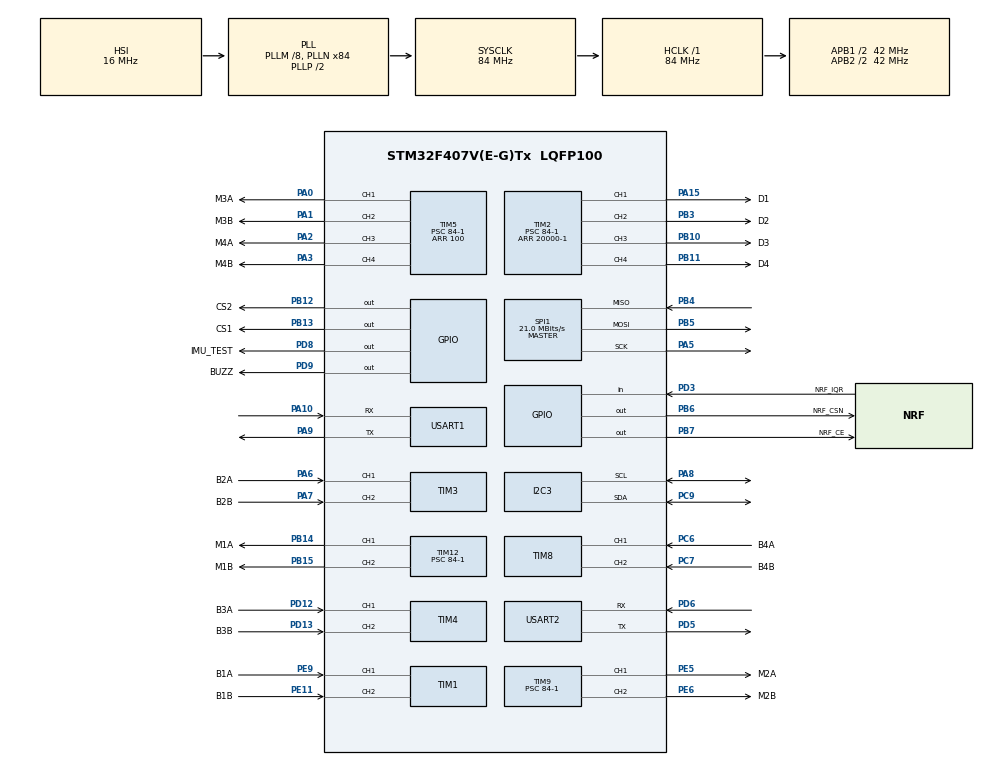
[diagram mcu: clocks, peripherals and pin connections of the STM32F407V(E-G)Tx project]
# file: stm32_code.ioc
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Mcu.Family=STM32F4
Mcu.Name=STM32F407V(E-G)Tx
Mcu.Package=LQFP100
NVIC.PriorityGroup=NVIC_PRIORITYGROUP_4
NVIC.TIM6_DAC_IRQn=true\:0\:0\:false\:false\:true\:true\:true\:true
NVIC.TIM8_TRG_COM_TIM14_IRQn=true\:0\:0\:false\:false\:true\:true\:true\:true
NVIC.USART1_IRQn=true\:0\:0\:false\:false\:true\:true\:true\:true
PA0-WKUP.GPIO_Label=M3A
PA0-WKUP.Signal=S_TIM5_CH1
PA1.GPIO_Label=M3B
PA1.Signal=S_TIM5_CH2
PA10.Mode=Asynchronous
PA10.Signal=USART1_RX
PA13.Mode=Serial_Wire
PA13.Signal=SYS_JTMS-SWDIO
PA14.Mode=Serial_Wire
PA14.Signal=SYS_JTCK-SWCLK
PA15.GPIO_Label=D1
PA15.GPIO_ModeDefaultPP=GPIO_MODE_AF_OD
PA15.Signal=S_TIM2_CH1_ETR
PA2.GPIO_Label=M4A
PA2.Signal=S_TIM5_CH3
PA3.GPIO_Label=M4B
PA3.Signal=S_TIM5_CH4
PA5.Mode=Full_Duplex_Master
PA5.Signal=SPI1_SCK
PA6.GPIO_Label=B2A
PA6.Signal=S_TIM3_CH1
PA7.GPIO_Label=B2B
PA7.Signal=S_TIM3_CH2
PA8.Mode=I2C
PA8.Signal=I2C3_SCL
PA9.Mode=Asynchronous
PA9.Signal=USART1_TX
PB10.GPIO_Label=D3
PB10.GPIO_ModeDefaultPP=GPIO_MODE_AF_OD
PB10.Signal=S_TIM2_CH3
PB11.GPIO_Label=D4
PB11.GPIO_ModeDefaultPP=GPIO_MODE_AF_OD
PB11.Signal=S_TIM2_CH4
PB12.GPIO_Label=CS2
PB12.GPIO_PuPd=GPIO_PULLUP
PB12.Signal=GPIO_Output
PB13.GPIO_Label=CS1
PB13.GPIO_PuPd=GPIO_PULLUP
PB13.Signal=GPIO_Output
PB14.GPIO_Label=M1A
PB14.Signal=S_TIM12_CH1
PB15.GPIO_Label=M1B
PB15.Signal=S_TIM12_CH2
PB3.GPIO_Label=D2
PB3.GPIO_ModeDefaultPP=GPIO_MODE_AF_OD
PB3.Signal=S_TIM2_CH2
PB4.Mode=Full_Duplex_Master
PB4.Signal=SPI1_MISO
PB5.Mode=Full_Duplex_Master
PB5.Signal=SPI1_MOSI
PB6.GPIO_Label=NRF_CSN
PB6.Signal=GPIO_Output
PB7.GPIO_Label=NRF_CE
PB7.Signal=GPIO_Output
PC14-OSC32_IN.Mode=LSE-External-Oscillator
PC14-OSC32_IN.Signal=RCC_OSC32_IN
PC15-OSC32_OUT.Mode=LSE-External-Oscillator
PC15-OSC32_OUT.Signal=RCC_OSC32_OUT
PC6.GPIO_Label=B4A
PC6.Signal=S_TIM8_CH1
PC7.GPIO_Label=B4B
PC7.Signal=S_TIM8_CH2
PC9.Mode=I2C
PC9.Signal=I2C3_SDA
PD12.GPIO_Label=B3A
PD12.Signal=S_TIM4_CH1
PD13.GPIO_Label=B3B
PD13.Signal=S_TIM4_CH2
PD3.GPIO_Label=NRF_IQR
PD3.GPIO_PuPd=GPIO_PULLUP
PD3.Signal=GPIO_Input
PD5.Mode=Asynchronous
PD5.Signal=USART2_TX
PD6.Mode=Asynchronous
PD6.Signal=USART2_RX
PD8.GPIO_Label=IMU_TEST
PD8.Signal=GPIO_Output
PD9.GPIO_Label=BUZZ
PD9.Signal=GPIO_Output
PE11.GPIO_Label=B1B
PE11.Signal=S_TIM1_CH2
PE5.GPIO_Label=M2A
PE5.Signal=S_TIM9_CH1
PE6.GPIO_Label=M2B
PE6.Signal=S_TIM9_CH2
PE9.GPIO_Label=B1A
PE9.Signal=S_TIM1_CH1
PH0-OSC_IN.Mode=HSE-External-Oscillator
PH0-OSC_IN.Signal=RCC_OSC_IN
PH1-OSC_OUT.Mode=HSE-External-Oscillator
PH1-OSC_OUT.Signal=RCC_OSC_OUT
ProjectManager.HeapSize=0x200
ProjectManager.StackSize=0x400
ProjectManager.TargetToolchain=STM32CubeIDE
RCC.48MHZClocksFreq_Value=42000000
RCC.AHBFreq_Value=84000000
RCC.APB1CLKDivider=RCC_HCLK_DIV2
RCC.APB1Freq_Value=42000000
RCC.APB1TimFreq_Value=84000000
RCC.APB2CLKDivider=RCC_HCLK_DIV2
RCC.APB2Freq_Value=42000000
RCC.APB2TimFreq_Value=84000000
RCC.CortexFreq_Value=84000000
RCC.HCLKFreq_Value=84000000
RCC.HSE_VALUE=8000000
RCC.HSI_VALUE=16000000
RCC.PLLM=8
RCC.PLLN=84
RCC.SYSCLKFreq_VALUE=84000000
RCC.SYSCLKSource=RCC_SYSCLKSOURCE_PLLCLK
RCC.VCOOutputFreq_Value=168000000
SH.S_TIM12_CH1.0=TIM12_CH1,PWM Generation1 CH1
SH.S_TIM12_CH2.0=TIM12_CH2,PWM Generation2 CH2
SH.S_TIM1_CH1.0=TIM1_CH1,Encoder_Interface
SH.S_TIM1_CH2.0=TIM1_CH2,Encoder_Interface
SH.S_TIM2_CH1_ETR.0=TIM2_CH1,PWM Generation1 CH1
SH.S_TIM2_CH2.0=TIM2_CH2,PWM Generation2 CH2
SH.S_TIM2_CH3.0=TIM2_CH3,PWM Generation3 CH3
SH.S_TIM2_CH4.0=TIM2_CH4,PWM Generation4 CH4
SH.S_TIM3_CH1.0=TIM3_CH1,Encoder_Interface
SH.S_TIM3_CH2.0=TIM3_CH2,Encoder_Interface
SH.S_TIM4_CH1.0=TIM4_CH1,Encoder_Interface
SH.S_TIM4_CH2.0=TIM4_CH2,Encoder_Interface
SH.S_TIM5_CH1.0=TIM5_CH1,PWM Generation1 CH1
SH.S_TIM5_CH2.0=TIM5_CH2,PWM Generation2 CH2
SH.S_TIM5_CH3.0=TIM5_CH3,PWM Generation3 CH3
SH.S_TIM5_CH4.0=TIM5_CH4,PWM Generation4 CH4
SH.S_TIM8_CH1.0=TIM8_CH1,Encoder_Interface
SH.S_TIM8_CH2.0=TIM8_CH2,Encoder_Interface
SH.S_TIM9_CH1.0=TIM9_CH1,PWM Generation1 CH1
SH.S_TIM9_CH2.0=TIM9_CH2,PWM Generation2 CH2
SPI1.CalculateBaudRate=21.0 MBits/s
SPI1.Direction=SPI_DIRECTION_2LINES
SPI1.Mode=SPI_MODE_MASTER
SPI1.VirtualType=VM_MASTER
TIM12.Channel-PWM\ Generation1\ CH1=TIM_CHANNEL_1
TIM12.Channel-PWM\ Generation2\ CH2=TIM_CHANNEL_2
TIM12.Period=100
TIM12.Prescaler=84-1
TIM14.Period=1000-1
TIM14.Prescaler=8400-1
TIM2.Channel-PWM\ Generation1\ CH1=TIM_CHANNEL_1
TIM2.Channel-PWM\ Generation2\ CH2=TIM_CHANNEL_2
TIM2.Channel-PWM\ Generation3\ CH3=TIM_CHANNEL_3
TIM2.Channel-PWM\ Generation4\ CH4=TIM_CHANNEL_4
TIM2.Period=20000-1
TIM2.Prescaler=84-1
TIM2.Pulse-PWM\ Generation1\ CH1=1500
TIM2.Pulse-PWM\ Generation2\ CH2=1500
TIM2.Pulse-PWM\ Generation3\ CH3=1500
TIM2.Pulse-PWM\ Generation4\ CH4=1500
TIM5.Channel-PWM\ Generation1\ CH1=TIM_CHANNEL_1
TIM5.Channel-PWM\ Generation2\ CH2=TIM_CHANNEL_2
TIM5.Channel-PWM\ Generation3\ CH3=TIM_CHANNEL_3
TIM5.Channel-PWM\ Generation4\ CH4=TIM_CHANNEL_4
TIM5.Period=100
TIM5.Prescaler=84-1
TIM5.Pulse-PWM\ Generation1\ CH1=0
TIM5.Pulse-PWM\ Generation2\ CH2=0
TIM6.Period=1000-1
TIM6.Prescaler=84-1
TIM9.Channel-PWM\ Generation1\ CH1=TIM_CHANNEL_1
TIM9.Channel-PWM\ Generation2\ CH2=TIM_CHANNEL_2
TIM9.Period=100
TIM9.Prescaler=84-1
USART1.VirtualMode=VM_ASYNC
USART2.VirtualMode=VM_ASYNC
VP_TIM12_VS_ClockSourceINT.Mode=Internal
VP_TIM14_VS_ClockSourceINT.Mode=Enable_Timer
VP_TIM2_VS_ClockSourceINT.Mode=Internal
VP_TIM5_VS_ClockSourceINT.Mode=Internal
VP_TIM6_VS_ClockSourceINT.Mode=Enable_Timer
VP_TIM9_VS_ClockSourceINT.Mode=Internal
board=custom

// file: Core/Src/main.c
/* USER CODE BEGIN Header */
/**
  ******************************************************************************
  * @file           : main.c
  * @brief          : Main program body
  ******************************************************************************
  * @attention
  *
  * Copyright (c) 2025 STMicroelectronics.
  * All rights reserved.
  *
  * This software is licensed under terms that can be found in the LICENSE file
  * in the root directory of this software component.
  * If no LICENSE file comes with this software, it is provided AS-IS.
  *
  ******************************************************************************
  */
/* USER CODE END Header */
#include "main.h"
#include "i2c.h"
#include "spi.h"
#include "tim.h"
#include "usart.h"
#include "gpio.h"

/* USER CODE BEGIN Includes */
#include "imu.h"
#include "gear_motor.h"
#include "servo.h"
#include "motion.h"
#include "nrf24l01.h"
#include <string.h>
#include <stdlib.h>
#include "math.h"
/* USER CODE END Includes */

/* USER CODE BEGIN PD */
//#define M_PI 3.1415

/* USER CODE END PD */

void SystemClock_Config(void);

int main(void)
{

  /* MCU Configuration--------------------------------------------------------*/

  /* Reset of all peripherals, Initializes the Flash interface and the Systick. */
  HAL_Init();

  /* Configure the system clock */
  SystemClock_Config();

  /* Initialize all configured peripherals */
  MX_GPIO_Init();
  MX_TIM1_Init();
  MX_TIM2_Init();
  MX_TIM3_Init();
  MX_TIM4_Init();
  MX_TIM5_Init();
  MX_TIM8_Init();
  MX_TIM9_Init();
  MX_TIM12_Init();
  MX_I2C3_Init();
  MX_USART1_UART_Init();
  MX_USART2_UART_Init();
  MX_SPI1_Init();
  MX_TIM14_Init();
  MX_TIM6_Init();
  /* USER CODE BEGIN 2 */
  Servo_Init();

  Serial_Printf("Servo_Init");
  Motor_Wheels_Init();
  Serial_Printf("Motor_Wheels_Init");

  HAL_UART_Receive_IT(&huart1, &ByteRecv, 1);  // 启动串口接收中断，接收1个字节

  //imu_init();

  //NRF24L01_Init();

//  Serial_Printf("NRF24L01_Check:%d\r\n",NRF24L01_Check());
//  NRF24L01_RX_Mode(0);
//  uint8_t rx_buf[8];
  /* USER CODE END 2 */

  /* Infinite loop */
  /* USER CODE BEGIN WHILE */
  while (1)
  {

//	  Serial_Printf("ping\r\n");
//	  HAL_Delay(1000);

	  if (Serial_GetRxFlag() == 1){

		int8_t data1 = (int8_t)Serial_RxPacket[0];
		int8_t data2 = (int8_t)Serial_RxPacket[1];
		int8_t data3 = (int8_t)Serial_RxPacket[2];

			  // 处理数据
			  // 例如，打印数据或者将数据用于其他操作
		//上面叫做X，Y，Z，但对于下面是Y，X，Z
		 Serial_Printf("stmReceived data: %d, %d, %d\r\n", data1, data2, data3);

		 //换成下面的X，Y，Z，
		 MotionInput input = {data2, data1, data3};

		 MotionOutput output;
		 MOTION_Inverse_Resolve(&input, &output);

		Motor_Wheels_SetPWMs(output.vlf, output.vrf, output.vlr, output.vrr);
		Servo_SetAngles((uint8_t)(output.poslf+90 ),
					(uint8_t)(output.posrf +90),
						   (uint8_t)(output.poslr+80),
						   (uint8_t)(output.posrr+94));
		//printMotionOutput(&output);
	  }
//	  HAL_Delay(100);
	  //Serial_Printf("main");
//	  if(NRF24L01_RxPacket(rx_buf)==0X00)  //NRF24L01模块发�?�数据并判断是否发�?�成�?
//	  {
//
//		  Serial_Printf("\r\nrx_buf:%d\r\n",rx_buf[0]);
//	  }

//	  Motor_Wheels_SetPWMs(100-1,100-1,100-1,100-1);
//	  Serial_Printf("P100\r\n");
	  //Servo_SetAngles(180,180,180,180);
	  //Serial_Printf("180\r\n");
	  //HAL_Delay(5000);
//	  Motor_Wheels_SetPWMs(-100,-100,-100,-100);
//	  Serial_Printf("P-100\r\n");
	  //Servo_SetAngles(0,0,0,0);
	  //Serial_Printf("0\r\n");
	  //HAL_Delay(5000);
//	  Motor_Wheels_SetPWMs(0,0,0,0);
//	  Serial_Printf("P-100\r\n");
	  //Servo_SetAngles(90,90,90,90);
	  //Serial_Printf("90\r\n");
	  //HAL_Delay(5000);

//	  uint8_t i=0;
//	  for(i=0;i<180;i++){
//	  HAL_Delay(100);
//	  Serial_Printf("i:%d	,",i);
//	  Servo_SetAngles(i,i,i,i);
//	  }
//	  Motor_Wheels_SetPWMs(100-1,100-1,100-1,100-1);
//	  HAL_Delay(5000);
//	  HAL_TIM_PWM_Start(&htim9, TIM_CHANNEL_1);
//	  HAL_TIM_PWM_Stop(&htim9, TIM_CHANNEL_2);
//	  __HAL_TIM_SET_COMPARE(&htim9, TIM_CHANNEL_1, 99);
//	  HAL_Delay(5000);
//	  HAL_TIM_PWM_Start(&htim9, TIM_CHANNEL_2);
//	  HAL_TIM_PWM_Stop(&htim9, TIM_CHANNEL_1);
//	  __HAL_TIM_SET_COMPARE(&htim9, TIM_CHANNEL_2, 99);
//	  HAL_Delay(5000);
//	  int i=0;
//	  for(i=0;i<100;i++){
//
//	  Motor_Wheels_SetPWMs(i-1,i-1,i-1,i-1);
//	  HAL_Delay(1000);
//	  }
    /* USER CODE END WHILE */

  }
}

void SystemClock_Config(void)
{
  RCC_OscInitTypeDef RCC_OscInitStruct = {0};
  RCC_ClkInitTypeDef RCC_ClkInitStruct = {0};

  /** Configure the main internal regulator output voltage
  */
  __HAL_RCC_PWR_CLK_ENABLE();
  __HAL_PWR_VOLTAGESCALING_CONFIG(PWR_REGULATOR_VOLTAGE_SCALE1);

  /** Initializes the RCC Oscillators according to the specified parameters
  * in the RCC_OscInitTypeDef structure.
  */
  RCC_OscInitStruct.OscillatorType = RCC_OSCILLATORTYPE_HSI;
  RCC_OscInitStruct.HSIState = RCC_HSI_ON;
  RCC_OscInitStruct.HSICalibrationValue = RCC_HSICALIBRATION_DEFAULT;
  RCC_OscInitStruct.PLL.PLLState = RCC_PLL_ON;
  RCC_OscInitStruct.PLL.PLLSource = RCC_PLLSOURCE_HSI;
  RCC_OscInitStruct.PLL.PLLM = 8;
  RCC_OscInitStruct.PLL.PLLN = 84;
  RCC_OscInitStruct.PLL.PLLP = RCC_PLLP_DIV2;
  RCC_OscInitStruct.PLL.PLLQ = 4;
  if (HAL_RCC_OscConfig(&RCC_OscInitStruct) != HAL_OK)
  {
    Error_Handler();
  }

  /** Initializes the CPU, AHB and APB buses clocks
  */
  RCC_ClkInitStruct.ClockType = RCC_CLOCKTYPE_HCLK|RCC_CLOCKTYPE_SYSCLK
                              |RCC_CLOCKTYPE_PCLK1|RCC_CLOCKTYPE_PCLK2;
  RCC_ClkInitStruct.SYSCLKSource = RCC_SYSCLKSOURCE_PLLCLK;
  RCC_ClkInitStruct.AHBCLKDivider = RCC_SYSCLK_DIV1;
  RCC_ClkInitStruct.APB1CLKDivider = RCC_HCLK_DIV2;
  RCC_ClkInitStruct.APB2CLKDivider = RCC_HCLK_DIV2;

  if (HAL_RCC_ClockConfig(&RCC_ClkInitStruct, FLASH_LATENCY_2) != HAL_OK)
  {
    Error_Handler();
  }
}

/* USER CODE BEGIN 4 */

void HAL_TIM_PeriodElapsedCallback(TIM_HandleTypeDef *htim)
{

	IMU_Schedule(htim);
	Motor_Schedule(htim);
}

//HAL_UART_RxCpltCallback(UART_HandleTypeDef *huart){
//	if (huart == &huart1){
//	static uint8_t RxState = 0;
//	static uint8_t pRxPacket = 0;
//	uint8_t RxData=ByteRecv;
//	if (RxState == 0)
//	{
//	if (RxData == 0xFF)
//	{
//		RxState = 1;
//		pRxPacket = 0;
//	}
//	}
//	else if (RxState == 1)
//	{
//		Serial_RxPacket[pRxPacket] = RxData;
//		pRxPacket ++;
//	if (pRxPacket >= 3)
//	{
//		RxState = 2;
//	}
//	}
//	else if (RxState == 2)
//	{
//	if (RxData == 0xFE)
//	{
//		RxState = 0;
//		Serial_RxFlag = 1;
//	}
//	}
//	HAL_UART_Receive_IT(&huart1, &ByteRecv, 1);
//	}
//	}

//
//void HAL_UART_RxCpltCallback(UART_HandleTypeDef *huart) {
//    if (huart->Instance == USART1) {
//        int last_crlf_pos = -1;
//
//        // 从后往前查找最后一个完整的\r\n
//        for (int i = rx_index - 2; i >= 0; i--) {
//            if (rx_buffer[i] == '\r' && rx_buffer[i+1] == '\n') {
//                last_crlf_pos = i;
//                break;
//            }
//        }
//
//        // 如果找到完整帧
//        if (last_crlf_pos != -1) {
//            // 提取最新帧（最后一个CRLF之后的数据）
//            char *frame_start = rx_buffer + last_crlf_pos + 2;
//            int frame_length = rx_index - (last_crlf_pos + 2);
//
//            // 临时拷贝到独立缓冲区防止数据覆盖
//            char latest_frame[64] = {0};
//            strncpy(latest_frame, frame_start, frame_length);
//
//            // 立即清理已处理数据（保留最后一个CRLF之后的不完整数据）
//            memmove(rx_buffer, frame_start, frame_length);
//            rx_index = frame_length;
//
//            // 解析最新帧
//            char *move_cmd = strtok(latest_frame, ",");
//            char *x_str = strtok(NULL, ",");
//            char *y_str = strtok(NULL, ",");
//            char *z_str = strtok(NULL, ",");
//
//            if (move_cmd && x_str && y_str && z_str) {
//                float x = atof(x_str);
//                float y = atof(y_str);
//                float z = atof(z_str);
//
//                // 立即执行最新指令
//                MotionInput input = {x, y, z};
//                MotionOutput output;
//                MOTION_Inverse_Resolve(&input, &output);
//
//				Motor_Wheels_SetPWMs(output.vlf, output.vrf, output.vlr, output.vrr);
//				Servo_SetAngles((uint8_t)(output.poslf * 180 / M_PI),
//								(uint8_t)(output.posrf * 180 / M_PI),
//                                    (uint8_t)(output.poslr * 180 / M_PI),
//                                    (uint8_t)(output.posrr * 180 / M_PI));
//
//            }
//        }
//
//        // 缓冲区溢出保护（保留最后128字节）
//        if (rx_index >= RX_BUFFER_SIZE) {
//            int keep_bytes = RX_BUFFER_SIZE / 4;  // 保留最后1/4数据
//            memmove(rx_buffer, rx_buffer + (RX_BUFFER_SIZE - keep_bytes), keep_bytes);
//            rx_index = keep_bytes;
//            Serial_Printf("[WARN] Buffer overflow, truncating!\r\n");
//        }
//
//        // 重新启动接收（总是从当前索引开始）
//        HAL_UART_Receive_IT(&huart1, rx_buffer + rx_index, RX_BUFFER_SIZE - rx_index);
//    }
//}

/* USER CODE END 4 */

void Error_Handler(void)
{
  __disable_irq();
  while (1)
  {
  }
}
